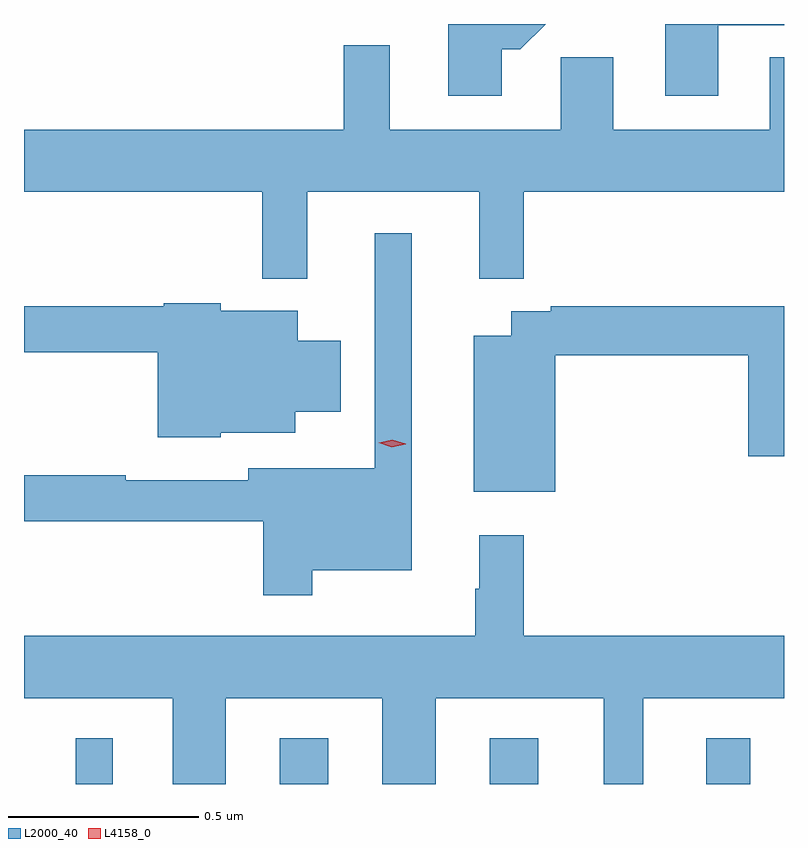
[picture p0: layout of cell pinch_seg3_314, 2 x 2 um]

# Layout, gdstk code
import gdstk
lib = gdstk.Library(unit=1e-6, precision=1e-09)
def R(c, l, rs):  # rectangles x0, y0, x1, y1
    for r in rs: c.add(gdstk.rectangle(r[:2], r[2:], *l))
def P(c, l, *ps):  # polygons
    for p in ps: c.add(gdstk.Polygon(p, *l))
L2000_40 = (2000, 40)
L4158_0 = (4158, 0)

pinch_seg3_314 = lib.new_cell('pinch_seg3_314')
R(pinch_seg3_314, L2000_40, [(997.394,711.346,997.492,711.466), (997.931,711.346,998.059,711.466), (998.483,711.346,998.611,711.466), (999.053,711.346,999.169,711.466)])
P(pinch_seg3_314, L2000_40, [(999.085,713.343),(999.258,713.343),(999.258,713.346),(998.945,713.346),(998.945,713.157),(999.085,713.157)],
  [(998.515,713.279),(998.564,713.279),(998.631,713.346),(998.375,713.346),(998.375,713.157),(998.515,713.157)],
  [(998.573,712.904),(999.258,712.904),(999.258,713.258),(999.221,713.258),(999.221,713.068),(998.809,713.068),(998.809,713.258),(998.67,713.258),(998.67,713.068),(998.221,713.068),(998.221,713.29),(998.1,713.29),(998.1,713.068),(997.258,713.068),(997.258,712.904),(997.885,712.904),(997.885,712.676),(998.003,712.676),(998.003,712.904),(998.456,712.904),(998.456,712.675),(998.573,712.675)],
  [(998.017,711.908),(998.278,711.908),(998.278,712.795),(998.181,712.795),(998.181,712.177),(997.848,712.177),(997.848,712.146),(997.526,712.146),(997.526,712.159),(997.258,712.159),(997.258,712.038),(997.888,712.038),(997.888,711.843),(998.017,711.843)],
  [(997.776,712.271),(997.972,712.271),(997.972,712.325),(998.092,712.325),(998.092,712.513),(997.978,712.513),(997.978,712.591),(997.776,712.591),(997.776,712.611),(997.626,712.611),(997.626,712.603),(997.258,712.603),(997.258,712.482),(997.61,712.482),(997.61,712.259),(997.776,712.259)],
  [(998.656,712.474),(999.164,712.474),(999.164,712.209),(999.258,712.209),(999.258,712.603),(998.644,712.603),(998.644,712.59),(998.54,712.59),(998.54,712.525),(998.441,712.525),(998.441,712.115),(998.656,712.115)],
  [(997.789,711.572),(998.201,711.572),(998.201,711.346),(998.341,711.346),(998.341,711.572),(998.783,711.572),(998.783,711.346),(998.887,711.346),(998.887,711.572),(999.258,711.572),(999.258,711.736),(998.573,711.736),(998.573,712),(998.456,712),(998.456,711.86),(998.445,711.86),(998.445,711.736),(997.258,711.736),(997.258,711.572),(997.649,711.572),(997.649,711.346),(997.789,711.346)])
P(pinch_seg3_314, L4158_0, [(998.226,712.232),(998.191,712.244),(998.191,712.244),(998.191,712.244),(998.227,712.252),(998.262,712.241),(998.262,712.24),(998.262,712.24)])

lib.write_gds('pinch_seg3_314.gds')
